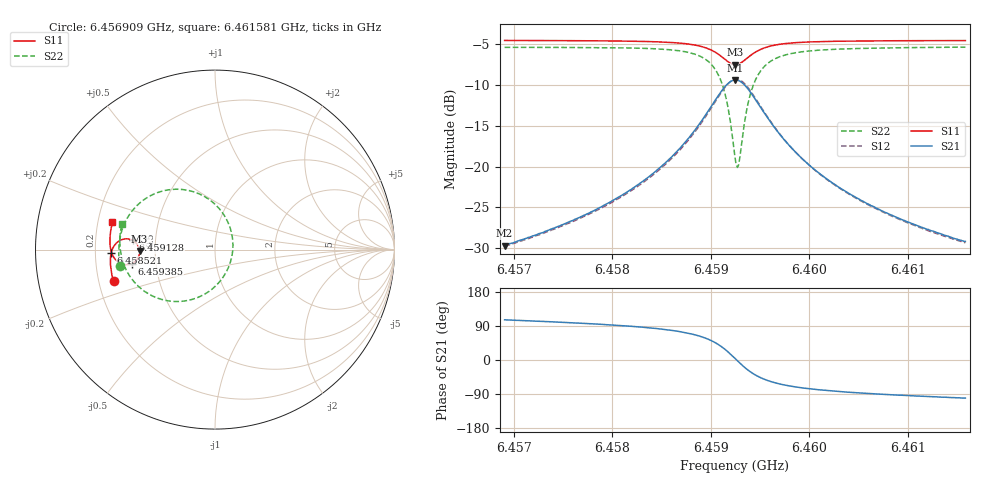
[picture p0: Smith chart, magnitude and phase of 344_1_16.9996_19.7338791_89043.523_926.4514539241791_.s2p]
#  HZ  S  RI  R  50.00
! Rohde & Schwarz Vector Network Analyzer
! Rohde-Schwarz,ZNB20-2Port,1311601062101988,3.16
! Created: UTC 3/20/2024, 11:07:26 PM
! freq[Hz]  re:S11  im:S11  re:S21  im:S21  re:S12  im:S12  re:S22  im:S22
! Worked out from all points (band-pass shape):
!   401 points, 6.456909 GHz to 6.461581 GHz, reference 50 ohm
!   highest |S21| = -9.38 dB at 6.459245 GHz (marker M1); lowest = -29.7 dB at 6.456909 GHz (marker M2)
!   |S21| within 3 dB of the highest: 6.459017 GHz to 6.459485 GHz (467.8 kHz wide, 0.00724 % of centre)
!   lowest |S11| = -7.5 dB at 6.459245 GHz (marker M3), VSWR 2.45, Z = 20.4 - j0.388 ohm
!   |S11| at or under -10 dB: nowhere
!   |S22| runs from -20.1 to -5.4 dB; largest |S21 - S12| = 0.012
!   S11 on the Smith chart (normalised r, x): 6.456909 GHz: 0.26, -0.14; 6.458521 GHz: 0.27, -0.02; 6.459128 GHz: 0.37, +0.05; 6.459385 GHz: 0.36, -0.07; 6.461581 GHz: 0.26, +0.12
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6.4569087e9  -0.565 -0.1775  -0.00908 0.0316  -0.00732 0.0317  -0.5297 -0.0902
6.4576913e9  -0.5798 -0.1095  -0.00588 0.0492  -0.00344 0.0488  -0.5364 -0.000491
6.4581118e9  -0.5831 -0.0679  -0.000551 0.0676  0.00266 0.0663  -0.5296 0.0644
6.4584739e9  -0.5798 -0.0252  0.013 0.0964  0.0169 0.0938  -0.5053 0.1431
6.4585206e9  -0.5786 -0.0189  0.0163 0.1018  0.0201 0.0988  -0.4994 0.1559
6.4587426e9  -0.5659 0.0147  0.0434 0.1348  0.0472 0.1298  -0.4489 0.2307
6.4588944e9  -0.5443 0.041  0.0865 0.165  0.0893 0.1581  -0.3703 0.2943
6.4590346e9  -0.5022 0.0596  0.1698 0.183  0.1699 0.1757  -0.2195 0.3363
6.459128e9  -0.4588 0.0516  0.2573 0.1561  0.2563 0.1509  -0.0589 0.2957
6.4591864e9  -0.4327 0.0285  0.3109 0.1036  0.3111 0.0999  0.0427 0.2039
6.4592448e9  -0.4204 -0.00784  0.3386 0.024  0.3417 0.0193  0.0982 0.0577
6.4592682e9  -0.4212 -0.0236  0.3383 -0.0109  0.3421 -0.0168  0.0985 -0.00795
6.4592799e9  -0.4229 -0.0314  0.3358 -0.0278  0.3397 -0.0346  0.0936 -0.0402
6.4593383e9  -0.4419 -0.0633  0.3013 -0.1014  0.3039 -0.112  0.0257 -0.1792
6.459385e9  -0.4639 -0.0781  0.2592 -0.1395  0.2592 -0.1515  -0.0583 -0.2487
6.4594784e9  -0.5061 -0.0831  0.1772 -0.1672  0.1719 -0.1781  -0.2214 -0.2892
6.4596303e9  -0.5482 -0.0621  0.093 -0.1525  0.0853 -0.1587  -0.3819 -0.2396
6.4597938e9  -0.569 -0.0345  0.0499 -0.1254  0.0427 -0.1282  -0.4591 -0.1694
6.4600274e9  -0.581 -0.000594  0.0226 -0.096  0.017 -0.0967  -0.5044 -0.0922
6.4603895e9  -0.5854 0.0419  0.00615 -0.0688  0.00227 -0.0684  -0.5265 -0.0109
6.46081e9  -0.5836 0.0839  -0.00136 -0.0511  -0.00406 -0.0504  -0.5303 0.055
6.461581e9  -0.5712 0.1521  -0.00641 -0.0342  -0.00806 -0.0331  -0.5191 0.1449
